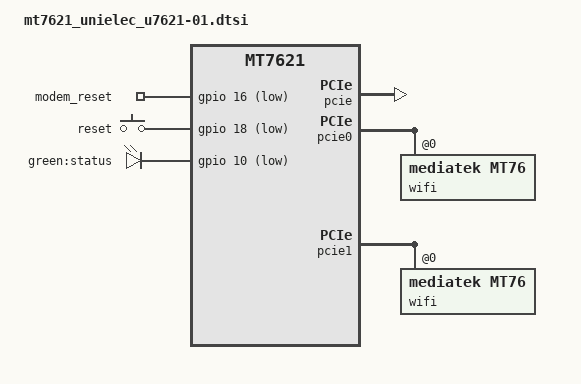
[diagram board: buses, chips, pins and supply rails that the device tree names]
// SPDX-License-Identifier: GPL-2.0-or-later OR MIT

#include "mt7621.dtsi"

#include <dt-bindings/gpio/gpio.h>
#include <dt-bindings/input/input.h>

/ {
	compatible = "unielec,u7621-01", "mediatek,mt7621-soc";

	aliases {
		led-boot = &led_status;
		led-failsafe = &led_status;
		led-running = &led_status;
		led-upgrade = &led_status;
	};

	gpio-export {
		compatible = "gpio-export";
		#size-cells = <0>;

		modem_reset {
			gpio-export,name = "modem_reset";
			gpio-export,output = <1>;
			gpios = <&gpio 16 GPIO_ACTIVE_LOW>;
		};
	};

	keys {
		compatible = "gpio-keys";

		reset {
			label = "reset";
			gpios = <&gpio 18 GPIO_ACTIVE_LOW>;
			linux,code = <KEY_RESTART>;
		};
	};

	leds {
		compatible = "gpio-leds";

		led_status: status {
			label = "green:status";
			gpios = <&gpio 10 GPIO_ACTIVE_LOW>;
		};
	};
};

&pcie {
	status = "okay";
};

&pcie0 {
	wifi@0,0 {
		compatible = "mediatek,mt76";
		reg = <0x0000 0 0 0 0>;
		mediatek,mtd-eeprom = <&factory 0x0000>;
		ieee80211-freq-limit = <2400000 2500000>;
	};
};

&pcie1 {
	wifi@0,0 {
		compatible = "mediatek,mt76";
		reg = <0x0000 0 0 0 0>;
		mediatek,mtd-eeprom = <&factory 0x8000>;
		ieee80211-freq-limit = <5000000 6000000>;

		led {
			led-sources = <2>;
		};
	};
};

&gmac0 {
	mtd-mac-address = <&factory 0xe000>;
};

&switch0 {
	ports {
		port@0 {
			status = "okay";
			label = "wan";
			mtd-mac-address = <&factory 0xe000>;
			mtd-mac-address-increment = <1>;
		};

		port@1 {
			status = "okay";
			label = "lan1";
		};

		port@2 {
			status = "okay";
			label = "lan2";
		};

		port@3 {
			status = "okay";
			label = "lan3";
		};

		port@4 {
			status = "okay";
			label = "lan4";
		};
	};
};

&state_default {
	gpio {
		groups = "jtag", "uart2", "wdt";
		function = "gpio";
	};
};
